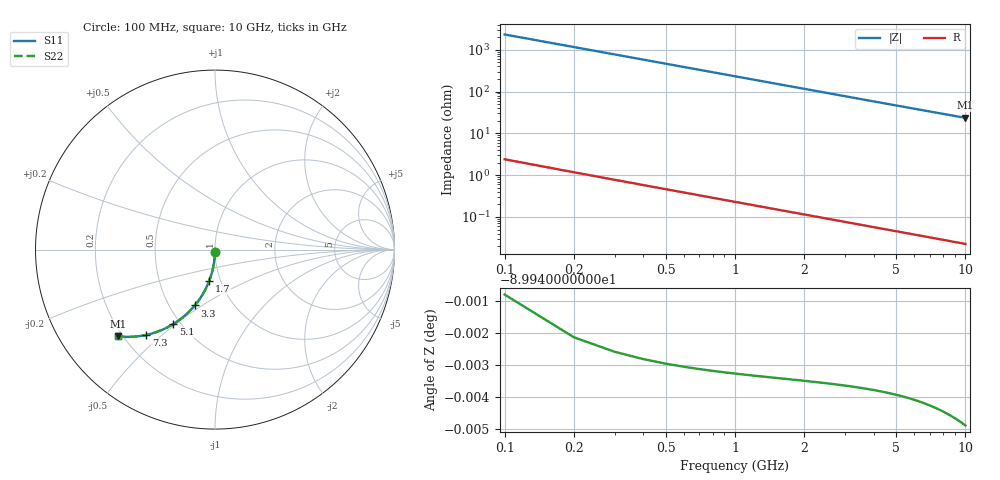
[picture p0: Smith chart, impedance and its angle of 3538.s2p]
# Hz S RI R 50.00
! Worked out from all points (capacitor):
!   100 points, 100 MHz to 10 GHz, reference 50 ohm
!   read as one part in shunt: C = 686 fF near 100 MHz
!   lowest |Z| = 23.5 ohm at 10 GHz (marker M1)
!   S11 on the Smith chart (normalised r, x): 100 MHz: 1.00, -0.02; 1.7 GHz: 0.88, -0.32; 3.3 GHz: 0.67, -0.47; 5.1 GHz: 0.46, -0.49; 7.3 GHz: 0.29, -0.44; 10 GHz: 0.18, -0.37
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1e8  -0.000104 -0.0106  0.9998 -0.0109  0.9998 -0.0109  -0.000104 -0.0106
2e8  -0.000463 -0.0213  0.9995 -0.0218  0.9995 -0.0218  -0.000463 -0.0213
3e8  -0.00105 -0.0319  0.9989 -0.0327  0.9989 -0.0327  -0.00105 -0.0319
4e8  -0.00187 -0.0425  0.9981 -0.0436  0.9981 -0.0436  -0.00187 -0.0425
5e8  -0.00293 -0.0531  0.997 -0.0544  0.997 -0.0544  -0.00293 -0.0531
6e8  -0.00421 -0.0636  0.9957 -0.0652  0.9957 -0.0652  -0.00421 -0.0636
8e8  -0.00744 -0.0845  0.9925 -0.0867  0.9925 -0.0867  -0.00744 -0.0845
9e8  -0.00939 -0.0949  0.9906 -0.0973  0.9906 -0.0973  -0.00939 -0.0949
1.1e9  -0.014 -0.1154  0.986 -0.1184  0.986 -0.1184  -0.014 -0.1154
1.4e9  -0.0224 -0.1456  0.9776 -0.1495  0.9776 -0.1495  -0.0224 -0.1456
1.7e9  -0.0326 -0.1749  0.9673 -0.1796  0.9673 -0.1796  -0.0326 -0.1749
1.8e9  -0.0364 -0.1845  0.9635 -0.1894  0.9635 -0.1894  -0.0364 -0.1845
2.1e9  -0.0489 -0.2124  0.951 -0.2182  0.951 -0.2182  -0.0489 -0.2124
2.5e9  -0.0679 -0.2477  0.932 -0.2546  0.932 -0.2546  -0.0679 -0.2477
3.3e9  -0.1126 -0.311  0.8873 -0.3202  0.8873 -0.3202  -0.1126 -0.311
3.4e9  -0.1187 -0.3182  0.8812 -0.3277  0.8812 -0.3277  -0.1187 -0.3182
4.2e9  -0.1704 -0.3696  0.8295 -0.3814  0.8295 -0.3814  -0.1704 -0.3696
5.1e9  -0.2324 -0.4147  0.7675 -0.4291  0.7675 -0.4291  -0.2324 -0.4147
6.7e9  -0.3432 -0.4648  0.6566 -0.4838  0.6566 -0.4838  -0.3432 -0.4648
7.3e9  -0.3828 -0.4752  0.6169 -0.496  0.6169 -0.496  -0.3828 -0.4752
8.4e9  -0.451 -0.4851  0.5487 -0.5091  0.5487 -0.5091  -0.451 -0.4851
1e10  -0.5381 -0.4836  0.4614 -0.5124  0.4614 -0.5124  -0.5381 -0.4836
